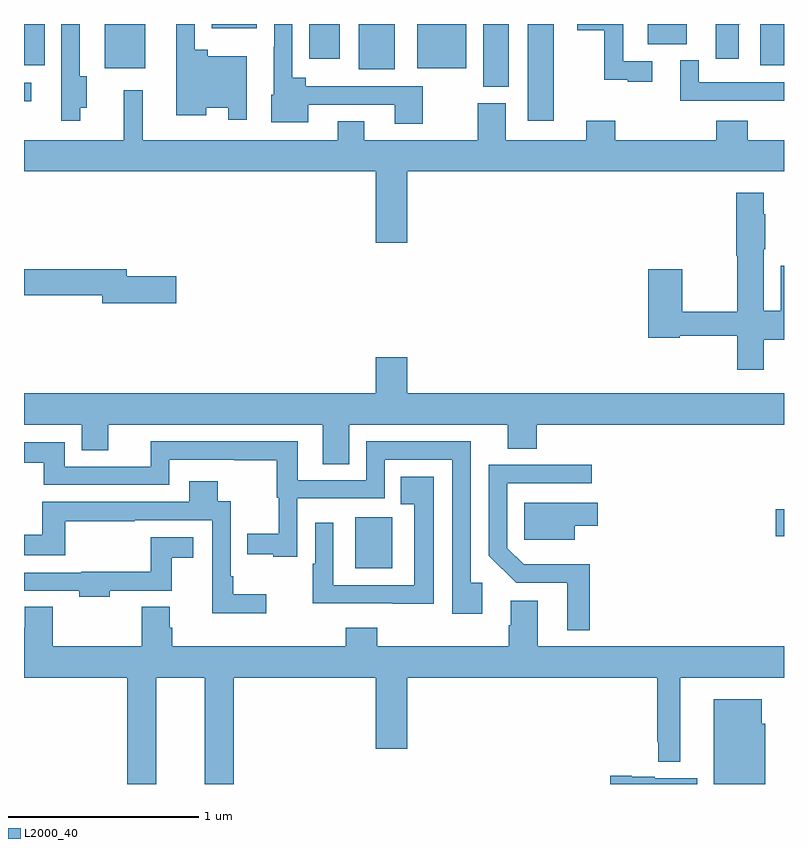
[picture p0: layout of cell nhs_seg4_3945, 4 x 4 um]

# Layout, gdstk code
import gdstk
lib = gdstk.Library(unit=1e-6, precision=1e-09)
def R(c, l, rs):  # rectangles x0, y0, x1, y1
    for r in rs: c.add(gdstk.rectangle(r[:2], r[2:], *l))
def P(c, l, *ps):  # polygons
    for p in ps: c.add(gdstk.Polygon(p, *l))
L2000_40 = (2000, 40)

nhs_seg4_3945 = lib.new_cell('nhs_seg4_3945')
R(nhs_seg4_3945, L2000_40, [(320.744,824.036,320.938,824.304), (322.956,824.204,323,824.346), (321.65,826.392,321.787,826.9), (319,826.493,319.039,826.59), (321.416,826.571,321.55,826.9), (320.762,826.661,320.95,826.9), (319.424,826.667,319.639,826.9), (321.071,826.667,321.328,826.9), (322.874,826.682,323,826.9), (319,826.683,319.108,826.9), (320.501,826.716,320.662,826.9), (322.283,826.793,322.489,826.9), (319.988,826.877,320.224,826.9)])
P(nhs_seg4_3945, L2000_40, [(321.099,826.572),(320.482,826.572),(320.482,826.618),(320.412,826.618),(320.412,826.9),(320.316,826.9),(320.316,826.781),(320.315,826.781),(320.315,826.527),(320.3,826.527),(320.3,826.382),(320.497,826.382),(320.497,826.476),(320.951,826.476),(320.951,826.374),(321.099,826.374)],
  [(319.296,826.46),(319.33,826.46),(319.33,826.626),(319.294,826.626),(319.294,826.9),(319.197,826.9),(319.197,826.614),(319.196,826.614),(319.196,826.392),(319.296,826.392)],
  [(320.172,826.729),(319.968,826.729),(319.968,826.765),(319.899,826.765),(319.899,826.9),(319.802,826.9),(319.802,826.421),(319.96,826.421),(319.96,826.46),(320.076,826.46),(320.076,826.395),(320.172,826.395)],
  [(322.762,826.899),(322.771,826.899),(322.771,826.9),(322.625,826.9),(322.625,826.899),(322.64,826.899),(322.64,826.716),(322.762,826.716)],
  [(322.306,826.704),(322.155,826.704),(322.155,826.9),(321.912,826.9),(321.912,826.867),(322.054,826.867),(322.054,826.607),(322.178,826.607),(322.178,826.596),(322.306,826.596)],
  [(323,826.593),(322.551,826.593),(322.551,826.708),(322.454,826.708),(322.454,826.497),(323,826.497)],
  [(321.016,826.124),(323,826.124),(323,826.288),(322.808,826.288),(322.808,826.39),(322.643,826.39),(322.643,826.288),(322.112,826.288),(322.112,826.39),(321.959,826.39),(321.959,826.288),(321.535,826.288),(321.535,826.483),(321.388,826.483),(321.388,826.288),(320.791,826.288),(320.791,826.387),(320.651,826.387),(320.651,826.288),(319.624,826.288),(319.624,826.552),(319.525,826.552),(319.525,826.288),(319,826.288),(319,826.124),(320.852,826.124),(320.852,825.75),(321.016,825.75)],
  [(322.894,825.239),(323,825.239),(323,825.628),(322.982,825.628),(322.982,825.392),(322.894,825.392),(322.894,825.715),(322.902,825.715),(322.902,825.899),(322.894,825.899),(322.894,826.012),(322.748,826.012),(322.748,825.681),(322.753,825.681),(322.753,825.386),(322.464,825.386),(322.464,825.61),(322.286,825.61),(322.286,825.25),(322.452,825.25),(322.452,825.258),(322.753,825.258),(322.753,825.081),(322.894,825.081)],
  [(319.801,825.572),(319.54,825.572),(319.54,825.608),(319,825.608),(319,825.472),(319.412,825.472),(319.412,825.43),(319.801,825.43)],
  [(320.713,824.792),(321.545,824.792),(321.545,824.665),(321.698,824.665),(321.698,824.792),(323,824.792),(323,824.956),(321.016,824.956),(321.016,825.145),(320.852,825.145),(320.852,824.956),(319,824.956),(319,824.792),(319.304,824.792),(319.304,824.656),(319.444,824.656),(319.444,824.792),(320.573,824.792),(320.573,824.584),(320.713,824.584)],
  [(321.412,823.958),(321.351,823.958),(321.351,824.703),(320.802,824.703),(320.802,824.499),(320.44,824.499),(320.44,824.703),(319.666,824.703),(319.666,824.571),(319.215,824.571),(319.215,824.7),(319,824.7),(319,824.592),(319.103,824.592),(319.103,824.475),(319.764,824.475),(319.764,824.607),(320.107,824.607),(320.107,824.605),(320.331,824.605),(320.331,824.406),(320.341,824.406),(320.341,824.218),(320.175,824.218),(320.175,824.108),(320.312,824.108),(320.312,824.097),(320.439,824.097),(320.439,824.403),(320.898,824.403),(320.898,824.607),(321.255,824.607),(321.255,823.797),(321.412,823.797)],
  [(321.977,824.056),(321.629,824.056),(321.543,824.142),(321.543,824.484),(321.988,824.484),(321.988,824.58),(321.447,824.58),(321.447,824.102),(321.59,823.959),(321.86,823.959),(321.86,823.71),(321.977,823.71)],
  [(321.157,824.518),(320.983,824.518),(320.983,824.372),(321.053,824.372),(321.053,823.947),(320.628,823.947),(320.628,824.275),(320.532,824.275),(320.532,824.058),(320.52,824.058),(320.52,823.851),(320.941,823.851),(320.941,823.849),(321.157,823.849)],
  [(320.275,823.898),(320.101,823.898),(320.101,823.993),(320.088,823.993),(320.088,824.388),(320.019,824.388),(320.019,824.494),(319.871,824.494),(319.871,824.385),(319.095,824.385),(319.095,824.212),(319,824.212),(319,824.103),(319.216,824.103),(319.216,824.284),(319.583,824.284),(319.583,824.289),(319.991,824.289),(319.991,823.799),(320.275,823.799)],
  [(321.898,824.258),(322.021,824.258),(322.021,824.38),(321.633,824.38),(321.633,824.186),(321.898,824.186)],
  [(319.451,823.917),(319.778,823.917),(319.778,824.09),(319.891,824.09),(319.891,824.2),(319.668,824.2),(319.668,824.018),(319.302,824.018),(319.302,824.013),(319,824.013),(319,823.917),(319.291,823.917),(319.291,823.886),(319.451,823.886)],
  [(319.696,823.46),(319.952,823.46),(319.952,822.9),(320.105,822.9),(320.105,823.46),(320.852,823.46),(320.852,823.086),(321.016,823.086),(321.016,823.46),(322.332,823.46),(322.332,823.123),(322.339,823.123),(322.339,823.016),(322.453,823.016),(322.453,823.46),(323,823.46),(323,823.624),(321.703,823.624),(321.703,823.864),(321.563,823.864),(321.563,823.736),(321.551,823.736),(321.551,823.624),(320.858,823.624),(320.858,823.723),(320.693,823.723),(320.693,823.624),(319.781,823.624),(319.781,823.722),(319.768,823.722),(319.768,823.832),(319.621,823.832),(319.621,823.624),(319.152,823.624),(319.152,823.832),(319.004,823.832),(319.004,823.722),(319,823.722),(319,823.46),(319.544,823.46),(319.544,822.9),(319.696,822.9)],
  [(322.9,823.218),(322.882,823.218),(322.882,823.345),(322.631,823.345),(322.631,822.9),(322.9,822.9)],
  [(322.543,822.931),(322.32,822.931),(322.32,822.937),(322.198,822.937),(322.198,822.944),(322.086,822.944),(322.086,822.9),(322.543,822.9)])

lib.write_gds('nhs_seg4_3945.gds')
